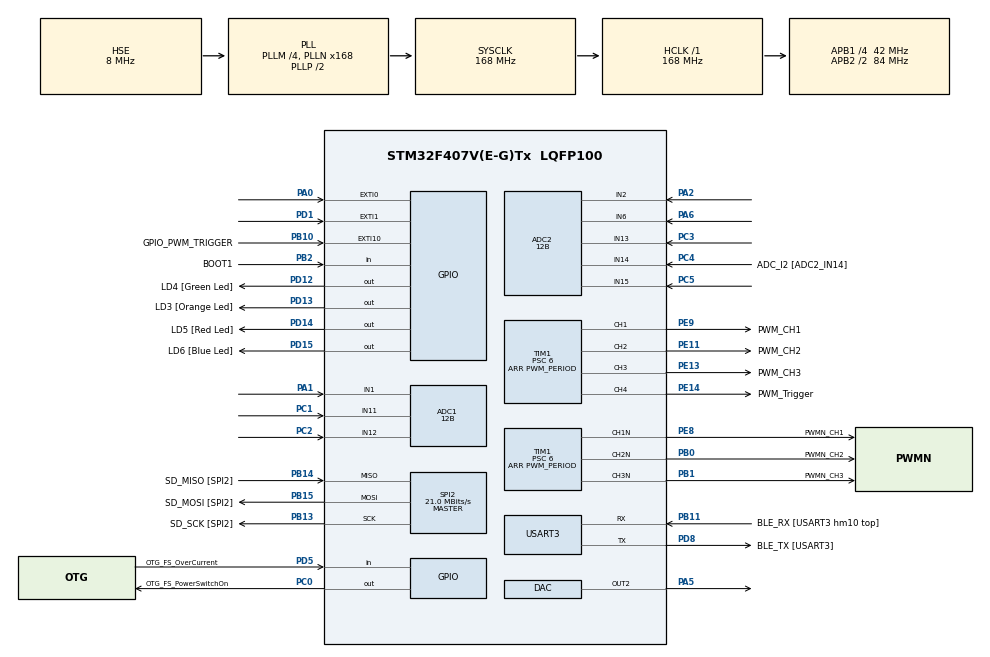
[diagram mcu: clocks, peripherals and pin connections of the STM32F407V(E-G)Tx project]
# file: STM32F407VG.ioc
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ADC1.Channel-103\#ChannelInjectedConversion=ADC_CHANNEL_1
ADC1.Channel-104\#ChannelInjectedConversion=ADC_CHANNEL_11
ADC1.Channel-105\#ChannelInjectedConversion=ADC_CHANNEL_12
ADC1.Channel-96\#ChannelRegularConversion=ADC_CHANNEL_1
ADC1.Channel-97\#ChannelInjectedConversion=ADC_CHANNEL_1
ADC1.Channel-98\#ChannelInjectedConversion=ADC_CHANNEL_11
ADC1.ClockPrescaler=ADC_CLOCK_SYNC_PCLK_DIV4
ADC1.ContinuousConvMode=DISABLE
ADC1.DMAContinuousRequests=DISABLE
ADC1.DataAlign=ADC_DATAALIGN_RIGHT
ADC1.DiscontinuousConvMode=DISABLE
ADC1.EOCSelection=ADC_EOC_SINGLE_CONV
ADC1.EnableAnalogWatchDog=false
ADC1.ExternalTrigConv=ADC_SOFTWARE_START
ADC1.ExternalTrigConvEdge=ADC_EXTERNALTRIGCONVEDGE_NONE
ADC1.ExternalTrigInjecConv=ADC_INJECTED_SOFTWARE_START
ADC1.ExternalTrigInjecConvEdge=ADC_EXTERNALTRIGINJECCONVEDGE_NONE
ADC1.InjNumberOfConversion=3
ADC1.InjectedConvMode=None
ADC1.InjectedOffset-103\#ChannelInjectedConversion=0
ADC1.InjectedOffset-104\#ChannelInjectedConversion=0
ADC1.InjectedOffset-105\#ChannelInjectedConversion=0
ADC1.InjectedOffset-97\#ChannelInjectedConversion=0
ADC1.InjectedOffset-98\#ChannelInjectedConversion=0
ADC1.NbrOfConversion=1
ADC1.NbrOfConversionFlag=1
ADC1.Rank-103\#ChannelInjectedConversion=1
ADC1.Rank-104\#ChannelInjectedConversion=2
ADC1.Rank-105\#ChannelInjectedConversion=3
ADC1.Rank-96\#ChannelRegularConversion=1
ADC1.Rank-97\#ChannelInjectedConversion=1
ADC1.Rank-98\#ChannelInjectedConversion=2
ADC1.Resolution=ADC_RESOLUTION_12B
ADC1.SamplingTime-103\#ChannelInjectedConversion=ADC_SAMPLETIME_3CYCLES
ADC1.SamplingTime-104\#ChannelInjectedConversion=ADC_SAMPLETIME_3CYCLES
ADC1.SamplingTime-105\#ChannelInjectedConversion=ADC_SAMPLETIME_3CYCLES
ADC1.SamplingTime-96\#ChannelRegularConversion=ADC_SAMPLETIME_3CYCLES
ADC1.SamplingTime-97\#ChannelInjectedConversion=ADC_SAMPLETIME_3CYCLES
ADC1.SamplingTime-98\#ChannelInjectedConversion=ADC_SAMPLETIME_3CYCLES
ADC1.ScanConvMode=ENABLE
ADC1.master=1
ADC2.Channel-42\#ChannelRegularConversion=ADC_CHANNEL_6
ADC2.Channel-43\#ChannelInjectedConversion=ADC_CHANNEL_2
ADC2.Channel-44\#ChannelInjectedConversion=ADC_CHANNEL_14
ADC2.Channel-45\#ChannelInjectedConversion=ADC_CHANNEL_15
ADC2.ClockPrescaler=ADC_CLOCK_SYNC_PCLK_DIV4
ADC2.ContinuousConvMode=DISABLE
ADC2.DMAContinuousRequests=DISABLE
ADC2.DataAlign=ADC_DATAALIGN_RIGHT
ADC2.DiscontinuousConvMode=DISABLE
ADC2.EOCSelection=ADC_EOC_SINGLE_CONV
ADC2.EnableAnalogWatchDog=false
ADC2.ExternalTrigConv=ADC_SOFTWARE_START
ADC2.ExternalTrigConvEdge=ADC_EXTERNALTRIGCONVEDGE_NONE
ADC2.ExternalTrigInjecConv=ADC_INJECTED_SOFTWARE_START
ADC2.ExternalTrigInjecConvEdge=ADC_EXTERNALTRIGINJECCONVEDGE_NONE
ADC2.InjNumberOfConversion=3
ADC2.InjectedConvMode=None
ADC2.InjectedOffset-43\#ChannelInjectedConversion=0
ADC2.InjectedOffset-44\#ChannelInjectedConversion=0
ADC2.InjectedOffset-45\#ChannelInjectedConversion=0
ADC2.NbrOfConversion=1
ADC2.NbrOfConversionFlag=1
ADC2.Rank-42\#ChannelRegularConversion=1
ADC2.Rank-43\#ChannelInjectedConversion=1
ADC2.Rank-44\#ChannelInjectedConversion=2
ADC2.Rank-45\#ChannelInjectedConversion=3
ADC2.Resolution=ADC_RESOLUTION_12B
ADC2.SamplingTime-42\#ChannelRegularConversion=ADC_SAMPLETIME_3CYCLES
ADC2.SamplingTime-43\#ChannelInjectedConversion=ADC_SAMPLETIME_3CYCLES
ADC2.SamplingTime-44\#ChannelInjectedConversion=ADC_SAMPLETIME_3CYCLES
ADC2.SamplingTime-45\#ChannelInjectedConversion=ADC_SAMPLETIME_3CYCLES
ADC2.ScanConvMode=ENABLE
Dma.Request0=SPI2_RX
Dma.Request1=SPI2_TX
Dma.SPI2_RX.0.Direction=DMA_PERIPH_TO_MEMORY
Dma.SPI2_RX.0.FIFOMode=DMA_FIFOMODE_DISABLE
Dma.SPI2_RX.0.Instance=DMA1_Stream3
Dma.SPI2_RX.0.MemDataAlignment=DMA_MDATAALIGN_BYTE
Dma.SPI2_RX.0.MemInc=DMA_MINC_ENABLE
Dma.SPI2_RX.0.Mode=DMA_NORMAL
Dma.SPI2_RX.0.PeriphDataAlignment=DMA_PDATAALIGN_BYTE
Dma.SPI2_RX.0.PeriphInc=DMA_PINC_DISABLE
Dma.SPI2_RX.0.Priority=DMA_PRIORITY_HIGH
Dma.SPI2_TX.1.Direction=DMA_MEMORY_TO_PERIPH
Dma.SPI2_TX.1.FIFOMode=DMA_FIFOMODE_DISABLE
Dma.SPI2_TX.1.Instance=DMA1_Stream4
Dma.SPI2_TX.1.MemDataAlignment=DMA_MDATAALIGN_BYTE
Dma.SPI2_TX.1.MemInc=DMA_MINC_ENABLE
Dma.SPI2_TX.1.Mode=DMA_NORMAL
Dma.SPI2_TX.1.PeriphDataAlignment=DMA_PDATAALIGN_BYTE
Dma.SPI2_TX.1.PeriphInc=DMA_PINC_DISABLE
Dma.SPI2_TX.1.Priority=DMA_PRIORITY_HIGH
FREERTOS.Tasks01=defaultTask,-3,128,StartDefaultTask,Default,NULL,Dynamic,NULL,NULL
Mcu.Family=STM32F4
Mcu.Name=STM32F407V(E-G)Tx
Mcu.Package=LQFP100
Mcu.UserConstants=PWM_PERIOD,1000;PWM_PULSE,200;TIM10_SPEED_CALC_DIV,480
NVIC.ADC_IRQn=true\:8\:0\:true\:false\:true\:true\:true
NVIC.DMA1_Stream3_IRQn=true\:9\:0\:true\:false\:true\:true\:false
NVIC.DMA1_Stream4_IRQn=true\:9\:0\:true\:false\:true\:true\:false
NVIC.EXTI0_IRQn=true\:8\:0\:true\:false\:true\:true\:true
NVIC.EXTI15_10_IRQn=true\:8\:0\:true\:false\:true\:true\:true
NVIC.EXTI1_IRQn=true\:8\:0\:true\:false\:true\:true\:true
NVIC.FLASH_IRQn=true\:8\:0\:true\:false\:true\:true\:true
NVIC.FPU_IRQn=true\:8\:0\:true\:false\:true\:true\:true
NVIC.PVD_IRQn=true\:8\:0\:true\:false\:true\:true\:true
NVIC.PriorityGroup=NVIC_PRIORITYGROUP_4
NVIC.RCC_IRQn=true\:8\:0\:true\:false\:true\:true\:true
NVIC.RTC_Alarm_IRQn=true\:10\:0\:true\:false\:true\:true\:true
NVIC.SPI2_IRQn=true\:9\:0\:true\:false\:true\:true\:true
NVIC.TIM1_BRK_TIM9_IRQn=true\:8\:0\:true\:false\:true\:true\:true
NVIC.TIM1_CC_IRQn=true\:8\:0\:true\:false\:true\:true\:true
NVIC.TIM1_TRG_COM_TIM11_IRQn=true\:8\:0\:true\:false\:true\:true\:true
NVIC.TIM1_UP_TIM10_IRQn=true\:8\:0\:true\:false\:true\:true\:true
NVIC.TIM6_DAC_IRQn=true\:8\:0\:true\:false\:true\:true\:true
NVIC.TIM8_TRG_COM_TIM14_IRQn=true\:0\:0\:false\:false\:true\:false\:false
NVIC.TimeBase=TIM8_TRG_COM_TIM14_IRQn
NVIC.TimeBaseIP=TIM14
NVIC.USART3_IRQn=true\:7\:0\:true\:false\:true\:true\:true
PA0-WKUP.Signal=GPXTI0
PA1.Signal=ADCx_IN1
PA11.GPIO_Label=OTG_FS_DM
PA11.GPIO_Mode=GPIO_MODE_AF_PP
PA11.GPIO_PuPd=GPIO_NOPULL
PA11.GPIO_Speed=GPIO_SPEED_FREQ_LOW
PA11.Signal=USB_OTG_FS_DM
PA12.GPIO_Label=OTG_FS_DP
PA12.GPIO_Mode=GPIO_MODE_AF_PP
PA12.GPIO_PuPd=GPIO_NOPULL
PA12.GPIO_Speed=GPIO_SPEED_FREQ_LOW
PA12.Signal=USB_OTG_FS_DP
PA13.GPIO_Label=SWDIO
PA13.Mode=Serial_Wire
PA13.Signal=SYS_JTMS-SWDIO
PA14.GPIO_Label=SWCLK
PA14.Mode=Serial_Wire
PA14.Signal=SYS_JTCK-SWCLK
PA2.Signal=ADCx_IN2
PA5.Signal=COMP_DAC2_group
PA6.Signal=ADCx_IN6
PB0.GPIO_Label=PWMN_CH2
PB0.Mode=PWM Generation2 CH2 CH2N
PB0.Signal=TIM1_CH2N
PB1.GPIO_Label=PWMN_CH3
PB1.Mode=PWM Generation3 CH3 CH3N
PB1.Signal=TIM1_CH3N
PB10.GPIO_Label=GPIO_PWM_TRIGGER
PB10.GPIO_ModeDefaultEXTI=GPIO_MODE_IT_RISING_FALLING
PB10.Signal=GPXTI10
PB11.GPIO_Label=BLE_RX [USART3 hm10 top]
PB11.Mode=Asynchronous
PB11.Signal=USART3_RX
PB13.GPIO_Label=SD_SCK [SPI2]
PB13.GPIO_PuPd=GPIO_NOPULL
PB13.Mode=Full_Duplex_Master
PB13.Signal=SPI2_SCK
PB14.GPIO_Label=SD_MISO [SPI2]
PB14.GPIO_PuPd=GPIO_NOPULL
PB14.Mode=Full_Duplex_Master
PB14.Signal=SPI2_MISO
PB15.GPIO_Label=SD_MOSI [SPI2]
PB15.GPIO_Mode=GPIO_MODE_AF_PP
PB15.GPIO_PuPd=GPIO_NOPULL
PB15.Mode=Full_Duplex_Master
PB15.Signal=SPI2_MOSI
PB2.GPIO_Label=BOOT1
PB2.GPIO_Mode=GPIO_MODE_INPUT
PB2.GPIO_PuPd=GPIO_NOPULL
PB2.Signal=GPIO_Input
PB3.Signal=SYS_JTDO-SWO
PC0.GPIO_Label=OTG_FS_PowerSwitchOn
PC0.GPIO_PuPd=GPIO_NOPULL
PC0.GPIO_Speed=GPIO_SPEED_FREQ_LOW
PC0.PinState=GPIO_PIN_SET
PC0.Signal=GPIO_Output
PC1.Signal=ADCx_IN11
PC14-OSC32_IN.GPIO_Label=PC14-OSC32_IN
PC14-OSC32_IN.Mode=LSE-External-Oscillator
PC14-OSC32_IN.Signal=RCC_OSC32_IN
PC15-OSC32_OUT.GPIO_Label=PC15-OSC32_OUT
PC15-OSC32_OUT.Mode=LSE-External-Oscillator
PC15-OSC32_OUT.Signal=RCC_OSC32_OUT
PC2.Signal=ADCx_IN12
PC3.Signal=ADCx_IN13
PC4.GPIO_Label=ADC_I2 [ADC2_IN14]
PC4.Signal=ADCx_IN14
PC5.Signal=ADCx_IN15
PD1.GPIO_ModeDefaultEXTI=GPIO_MODE_IT_RISING_FALLING
PD1.Signal=GPXTI1
PD12.GPIO_Label=LD4 [Green Led]
PD12.GPIO_PuPd=GPIO_NOPULL
PD12.GPIO_Speed=GPIO_SPEED_FREQ_LOW
PD12.Signal=GPIO_Output
PD13.GPIO_Label=LD3 [Orange Led]
PD13.GPIO_PuPd=GPIO_NOPULL
PD13.GPIO_Speed=GPIO_SPEED_FREQ_LOW
PD13.Signal=GPIO_Output
PD14.GPIO_Label=LD5 [Red Led]
PD14.GPIO_PuPd=GPIO_NOPULL
PD14.GPIO_Speed=GPIO_SPEED_FREQ_LOW
PD14.Signal=GPIO_Output
PD15.GPIO_Label=LD6 [Blue Led]
PD15.GPIO_PuPd=GPIO_NOPULL
PD15.GPIO_Speed=GPIO_SPEED_FREQ_LOW
PD15.Signal=GPIO_Output
PD5.GPIO_Label=OTG_FS_OverCurrent
PD5.GPIO_Mode=GPIO_MODE_INPUT
PD5.GPIO_PuPd=GPIO_NOPULL
PD5.Signal=GPIO_Input
PD8.GPIO_Label=BLE_TX [USART3]
PD8.Mode=Asynchronous
PD8.Signal=USART3_TX
PE11.GPIO_Label=PWM_CH2
PE11.GPIO_Speed=GPIO_SPEED_FREQ_MEDIUM
PE11.Signal=S_TIM1_CH2
PE13.GPIO_Label=PWM_CH3
PE13.GPIO_Speed=GPIO_SPEED_FREQ_MEDIUM
PE13.Signal=S_TIM1_CH3
PE14.GPIO_Label=PWM_Trigger
PE14.GPIO_Speed=GPIO_SPEED_FREQ_MEDIUM
PE14.Signal=S_TIM1_CH4
PE8.GPIO_Label=PWMN_CH1
PE8.Mode=PWM Generation1 CH1 CH1N
PE8.Signal=TIM1_CH1N
PE9.GPIO_Label=PWM_CH1
PE9.GPIO_Speed=GPIO_SPEED_FREQ_MEDIUM
PE9.Signal=S_TIM1_CH1
PH0-OSC_IN.GPIO_Label=PH0-OSC_IN
PH0-OSC_IN.Mode=HSE-External-Oscillator
PH0-OSC_IN.Signal=RCC_OSC_IN
PH1-OSC_OUT.GPIO_Label=PH1-OSC_OUT
PH1-OSC_OUT.Mode=HSE-External-Oscillator
PH1-OSC_OUT.Signal=RCC_OSC_OUT
ProjectManager.HeapSize=0x200
ProjectManager.StackSize=0x400
ProjectManager.TargetToolchain=TrueSTUDIO
RCC.48MHZClocksFreq_Value=48000000
RCC.AHBFreq_Value=168000000
RCC.APB1CLKDivider=RCC_HCLK_DIV4
RCC.APB1Freq_Value=42000000
RCC.APB1TimFreq_Value=84000000
RCC.APB2CLKDivider=RCC_HCLK_DIV2
RCC.APB2Freq_Value=84000000
RCC.APB2TimFreq_Value=168000000
RCC.CortexFreq_Value=168000000
RCC.HCLKFreq_Value=168000000
RCC.HSE_VALUE=8000000
RCC.HSI_VALUE=16000000
RCC.PLLM=4
RCC.PLLN=168
RCC.PLLQ=7
RCC.PLLSourceVirtual=RCC_PLLSOURCE_HSE
RCC.SYSCLKFreq_VALUE=168000000
RCC.SYSCLKSource=RCC_SYSCLKSOURCE_PLLCLK
RCC.VCOOutputFreq_Value=336000000
RTC.Alarm=RTC_ALARM_A
RTC.AlarmSubSecondMask=RTC_ALARMSUBSECONDMASK_NONE
RTC.Format=RTC_FORMAT_BIN
SH.ADCx_IN1.0=ADC1_IN1,IN1
SH.ADCx_IN11.0=ADC1_IN11,IN11
SH.ADCx_IN12.0=ADC1_IN12,IN12
SH.ADCx_IN13.0=ADC2_IN13,IN13
SH.ADCx_IN14.0=ADC2_IN14,IN14
SH.ADCx_IN15.0=ADC1_IN15
SH.ADCx_IN15.1=ADC2_IN15,IN15
SH.ADCx_IN2.0=ADC2_IN2,IN2
SH.ADCx_IN6.0=ADC2_IN6,IN6
SH.COMP_DAC2_group.0=DAC_OUT2,DAC_OUT2
SH.S_TIM1_CH1.0=TIM1_CH1,PWM Generation1 CH1 CH1N
SH.S_TIM1_CH2.0=TIM1_CH2,PWM Generation2 CH2 CH2N
SH.S_TIM1_CH3.0=TIM1_CH3,PWM Generation3 CH3 CH3N
SH.S_TIM1_CH4.0=TIM1_CH4,PWM Generation4 CH4
SPI2.BaudRatePrescaler=SPI_BAUDRATEPRESCALER_2
SPI2.CalculateBaudRate=21.0 MBits/s
SPI2.Direction=SPI_DIRECTION_2LINES
SPI2.Mode=SPI_MODE_MASTER
SPI2.VirtualType=VM_MASTER
TIM1.Channel-PWM\ Generation1\ CH1\ CH1N=TIM_CHANNEL_1
TIM1.Channel-PWM\ Generation2\ CH2\ CH2N=TIM_CHANNEL_2
TIM1.Channel-PWM\ Generation3\ CH3\ CH3N=TIM_CHANNEL_3
TIM1.Channel-PWM\ Generation4\ CH4=TIM_CHANNEL_4
TIM1.DeadTime=20
TIM1.Period=PWM_PERIOD
TIM1.Prescaler=6
TIM1.Pulse-PWM\ Generation1\ CH1\ CH1N=PWM_PULSE
TIM1.Pulse-PWM\ Generation2\ CH2\ CH2N=PWM_PULSE
TIM1.Pulse-PWM\ Generation3\ CH3\ CH3N=PWM_PULSE
TIM1.Pulse-PWM\ Generation4\ CH4=500
TIM1.TIM_MasterOutputTrigger=TIM_TRGO_UPDATE
TIM1.TIM_MasterSlaveMode=TIM_MASTERSLAVEMODE_ENABLE
TIM10.Channel=TIM_CHANNEL_1
TIM10.Period=65535
TIM10.Prescaler=168
TIM10.Pulse=65535
TIM9.Channel-Output\ Compare1\ No\ Output=TIM_CHANNEL_1
TIM9.OCMode_1=TIM_OCMODE_TIMING
TIM9.Period=30
TIM9.Prescaler=6
TIM9.Pulse-Output\ Compare1\ No\ Output=15
USART3.VirtualMode=VM_ASYNC
VP_FATFS_VS_Generic.Mode=User_defined
VP_FREERTOS_VS_ENABLE.Mode=Enabled
VP_RTC_VS_RTC_Activate.Mode=RTC_Enabled
VP_RTC_VS_RTC_Alarm_A_Intern.Mode=Alarm A
VP_RTC_VS_RTC_Calendar.Mode=RTC_Calendar
VP_SYS_VS_tim14.Mode=TIM14
VP_TIM10_VS_ClockSourceINT.Mode=Enable_Timer
VP_TIM10_VS_no_output1.Mode=Output Compare1 No Output
VP_TIM9_VS_no_output1.Mode=Output Compare1 No Output
board=STM32F4DISCOVERY

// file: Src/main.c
/**
  ******************************************************************************
  * @file           : main.c
  * @brief          : Main program body
  ******************************************************************************
  * This notice applies to any and all portions of this file
  * that are not between comment pairs USER CODE BEGIN and
  * USER CODE END. Other portions of this file, whether
  * inserted by the user or by software development tools
  * are owned by their respective copyright owners.
  *
  * Copyright (c) 2018 STMicroelectronics International N.V.
  * All rights reserved.
  *
  * Redistribution and use in source and binary forms, with or without
  * modification, are permitted, provided that the following conditions are met:
  *
  * 1. Redistribution of source code must retain the above copyright notice,
  *    this list of conditions and the following disclaimer.
  * 2. Redistributions in binary form must reproduce the above copyright notice,
  *    this list of conditions and the following disclaimer in the documentation
  *    and/or other materials provided with the distribution.
  * 3. Neither the name of STMicroelectronics nor the names of other
  *    contributors to this software may be used to endorse or promote products
  *    derived from this software without specific written permission.
  * 4. This software, including modifications and/or derivative works of this
  *    software, must execute solely and exclusively on microcontroller or
  *    microprocessor devices manufactured by or for STMicroelectronics.
  * 5. Redistribution and use of this software other than as permitted under
  *    this license is void and will automatically terminate your rights under
  *    this license.
  *
  * THIS SOFTWARE IS PROVIDED BY STMICROELECTRONICS AND CONTRIBUTORS "AS IS"
  * AND ANY EXPRESS, IMPLIED OR STATUTORY WARRANTIES, INCLUDING, BUT NOT
  * LIMITED TO, THE IMPLIED WARRANTIES OF MERCHANTABILITY, FITNESS FOR A
  * PARTICULAR PURPOSE AND NON-INFRINGEMENT OF THIRD PARTY INTELLECTUAL PROPERTY
  * RIGHTS ARE DISCLAIMED TO THE FULLEST EXTENT PERMITTED BY LAW. IN NO EVENT
  * SHALL STMICROELECTRONICS OR CONTRIBUTORS BE LIABLE FOR ANY DIRECT, INDIRECT,
  * INCIDENTAL, SPECIAL, EXEMPLARY, OR CONSEQUENTIAL DAMAGES (INCLUDING, BUT NOT
  * LIMITED TO, PROCUREMENT OF SUBSTITUTE GOODS OR SERVICES; LOSS OF USE, DATA,
  * OR PROFITS; OR BUSINESS INTERRUPTION) HOWEVER CAUSED AND ON ANY THEORY OF
  * LIABILITY, WHETHER IN CONTRACT, STRICT LIABILITY, OR TORT (INCLUDING
  * NEGLIGENCE OR OTHERWISE) ARISING IN ANY WAY OUT OF THE USE OF THIS SOFTWARE,
  * EVEN IF ADVISED OF THE POSSIBILITY OF SUCH DAMAGE.
  *
  ******************************************************************************
  */
#include "main.h"
#include "stm32f4xx_hal.h"
#include "cmsis_os.h"
#include "fatfs.h"

/* USER CODE BEGIN Includes */
#include "MC.h"
#define vPortSVCHandler SVC_Handler

#define xPortPendSVHandler PendSV_Handler

#define xPortSysTickHandler SysTick_Handler
/* USER CODE END Includes */

ADC_HandleTypeDef hadc1;
ADC_HandleTypeDef hadc2;

DAC_HandleTypeDef hdac;

RTC_HandleTypeDef hrtc;

SPI_HandleTypeDef hspi2;
DMA_HandleTypeDef hdma_spi2_rx;
DMA_HandleTypeDef hdma_spi2_tx;

TIM_HandleTypeDef htim1;
TIM_HandleTypeDef htim9;
TIM_HandleTypeDef htim10;

UART_HandleTypeDef huart3;

osThreadId defaultTaskHandle;

/* USER CODE BEGIN PV */
/* Private variables ---------------------------------------------------------*/

/* USER CODE END PV */

void SystemClock_Config(void);
static void MX_GPIO_Init(void);
static void MX_DMA_Init(void);
static void MX_TIM1_Init(void);
static void MX_RTC_Init(void);
static void MX_SPI2_Init(void);
static void MX_USART3_UART_Init(void);
static void MX_ADC2_Init(void);
static void MX_ADC1_Init(void);
static void MX_TIM9_Init(void);
static void MX_TIM10_Init(void);
static void MX_DAC_Init(void);
void StartDefaultTask(void const * argument);

void HAL_TIM_MspPostInit(TIM_HandleTypeDef *htim);

/* USER CODE BEGIN PFP */
/* Private function prototypes -----------------------------------------------*/
void Error_Handler_ISR() {
	Error_Handler();
}
extern void Start_MotorControlThread(void);
extern void Start_BT_Task(void);
extern void TurnAllPWMsOFF(void);
extern void Start_SDCard_Task(void);
extern void CruiseControl_Start(void);
/* USER CODE END PFP */

int main(void)
{

  /* MCU Configuration----------------------------------------------------------*/

  /* Reset of all peripherals, Initializes the Flash interface and the Systick. */
  HAL_Init();

  /* Configure the system clock */
  SystemClock_Config();

  /* Initialize all configured peripherals */
  MX_GPIO_Init();
  MX_DMA_Init();
  MX_TIM1_Init();
  MX_RTC_Init();
  MX_SPI2_Init();
  MX_USART3_UART_Init();
  MX_ADC2_Init();
  MX_ADC1_Init();
  MX_TIM9_Init();
  MX_TIM10_Init();
  MX_DAC_Init();
  /* USER CODE BEGIN 2 */
	MX_FATFS_Init();

  /* USER CODE END 2 */

  /* Create the thread(s) */
  /* definition and creation of defaultTask */
  osThreadDef(defaultTask, StartDefaultTask, osPriorityIdle, 0, 128);
  defaultTaskHandle = osThreadCreate(osThread(defaultTask), NULL);

  /* USER CODE BEGIN RTOS_THREADS */
	/* add threads, ... */
	Start_BT_Task();
	Start_MotorControlThread();
	CruiseControl_Start();

	Start_SDCard_Task();
  /* USER CODE END RTOS_THREADS */

  /* USER CODE BEGIN RTOS_QUEUES */
	/* add queues, ... */

	//	NVIC_SetPriorityGrouping( 0 );
  /* USER CODE END RTOS_QUEUES */

  /* Start scheduler */
  osKernelStart();

  /* We should never get here as control is now taken by the scheduler */

  /* Infinite loop */
	while (1) {

	}

}

void SystemClock_Config(void)
{

  RCC_OscInitTypeDef RCC_OscInitStruct;
  RCC_ClkInitTypeDef RCC_ClkInitStruct;
  RCC_PeriphCLKInitTypeDef PeriphClkInitStruct;

    /**Configure the main internal regulator output voltage
    */
  __HAL_RCC_PWR_CLK_ENABLE();

  __HAL_PWR_VOLTAGESCALING_CONFIG(PWR_REGULATOR_VOLTAGE_SCALE1);

    /**Initializes the CPU, AHB and APB busses clocks
    */
  RCC_OscInitStruct.OscillatorType = RCC_OSCILLATORTYPE_LSI|RCC_OSCILLATORTYPE_HSE;
  RCC_OscInitStruct.HSEState = RCC_HSE_ON;
  RCC_OscInitStruct.LSIState = RCC_LSI_ON;
  RCC_OscInitStruct.PLL.PLLState = RCC_PLL_ON;
  RCC_OscInitStruct.PLL.PLLSource = RCC_PLLSOURCE_HSE;
  RCC_OscInitStruct.PLL.PLLM = 4;
  RCC_OscInitStruct.PLL.PLLN = 168;
  RCC_OscInitStruct.PLL.PLLP = RCC_PLLP_DIV2;
  RCC_OscInitStruct.PLL.PLLQ = 7;
  if (HAL_RCC_OscConfig(&RCC_OscInitStruct) != HAL_OK)
  {
    _Error_Handler(__FILE__, __LINE__);
  }

    /**Initializes the CPU, AHB and APB busses clocks
    */
  RCC_ClkInitStruct.ClockType = RCC_CLOCKTYPE_HCLK|RCC_CLOCKTYPE_SYSCLK
                              |RCC_CLOCKTYPE_PCLK1|RCC_CLOCKTYPE_PCLK2;
  RCC_ClkInitStruct.SYSCLKSource = RCC_SYSCLKSOURCE_PLLCLK;
  RCC_ClkInitStruct.AHBCLKDivider = RCC_SYSCLK_DIV1;
  RCC_ClkInitStruct.APB1CLKDivider = RCC_HCLK_DIV4;
  RCC_ClkInitStruct.APB2CLKDivider = RCC_HCLK_DIV2;

  if (HAL_RCC_ClockConfig(&RCC_ClkInitStruct, FLASH_LATENCY_5) != HAL_OK)
  {
    _Error_Handler(__FILE__, __LINE__);
  }

  PeriphClkInitStruct.PeriphClockSelection = RCC_PERIPHCLK_RTC;
  PeriphClkInitStruct.RTCClockSelection = RCC_RTCCLKSOURCE_LSI;
  if (HAL_RCCEx_PeriphCLKConfig(&PeriphClkInitStruct) != HAL_OK)
  {
    _Error_Handler(__FILE__, __LINE__);
  }

    /**Configure the Systick interrupt time
    */
  HAL_SYSTICK_Config(HAL_RCC_GetHCLKFreq()/1000);

    /**Configure the Systick
    */
  HAL_SYSTICK_CLKSourceConfig(SYSTICK_CLKSOURCE_HCLK);

  /* SysTick_IRQn interrupt configuration */
  HAL_NVIC_SetPriority(SysTick_IRQn, 15, 0);
}

/* ADC1 init function */
static void MX_ADC1_Init(void)
{

  ADC_ChannelConfTypeDef sConfig;
  ADC_InjectionConfTypeDef sConfigInjected;

    /**Configure the global features of the ADC (Clock, Resolution, Data Alignment and number of conversion)
    */
  hadc1.Instance = ADC1;
  hadc1.Init.ClockPrescaler = ADC_CLOCK_SYNC_PCLK_DIV4;
  hadc1.Init.Resolution = ADC_RESOLUTION_12B;
  hadc1.Init.ScanConvMode = ENABLE;
  hadc1.Init.ContinuousConvMode = DISABLE;
  hadc1.Init.DiscontinuousConvMode = DISABLE;
  hadc1.Init.ExternalTrigConvEdge = ADC_EXTERNALTRIGCONVEDGE_NONE;
  hadc1.Init.ExternalTrigConv = ADC_SOFTWARE_START;
  hadc1.Init.DataAlign = ADC_DATAALIGN_RIGHT;
  hadc1.Init.NbrOfConversion = 1;
  hadc1.Init.DMAContinuousRequests = DISABLE;
  hadc1.Init.EOCSelection = ADC_EOC_SINGLE_CONV;
  if (HAL_ADC_Init(&hadc1) != HAL_OK)
  {
    _Error_Handler(__FILE__, __LINE__);
  }

    /**Configure for the selected ADC regular channel its corresponding rank in the sequencer and its sample time.
    */
  sConfig.Channel = ADC_CHANNEL_1;
  sConfig.Rank = 1;
  sConfig.SamplingTime = ADC_SAMPLETIME_3CYCLES;
  if (HAL_ADC_ConfigChannel(&hadc1, &sConfig) != HAL_OK)
  {
    _Error_Handler(__FILE__, __LINE__);
  }

    /**Configures for the selected ADC injected channel its corresponding rank in the sequencer and its sample time
    */
  sConfigInjected.InjectedChannel = ADC_CHANNEL_1;
  sConfigInjected.InjectedRank = 1;
  sConfigInjected.InjectedNbrOfConversion = 3;
  sConfigInjected.InjectedSamplingTime = ADC_SAMPLETIME_3CYCLES;
  sConfigInjected.ExternalTrigInjecConvEdge = ADC_EXTERNALTRIGINJECCONVEDGE_NONE;
  sConfigInjected.ExternalTrigInjecConv = ADC_INJECTED_SOFTWARE_START;
  sConfigInjected.AutoInjectedConv = DISABLE;
  sConfigInjected.InjectedDiscontinuousConvMode = DISABLE;
  sConfigInjected.InjectedOffset = 0;
  if (HAL_ADCEx_InjectedConfigChannel(&hadc1, &sConfigInjected) != HAL_OK)
  {
    _Error_Handler(__FILE__, __LINE__);
  }

    /**Configures for the selected ADC injected channel its corresponding rank in the sequencer and its sample time
    */
  sConfigInjected.InjectedChannel = ADC_CHANNEL_11;
  sConfigInjected.InjectedRank = 2;
  if (HAL_ADCEx_InjectedConfigChannel(&hadc1, &sConfigInjected) != HAL_OK)
  {
    _Error_Handler(__FILE__, __LINE__);
  }

    /**Configures for the selected ADC injected channel its corresponding rank in the sequencer and its sample time
    */
  sConfigInjected.InjectedChannel = ADC_CHANNEL_12;
  sConfigInjected.InjectedRank = 3;
  if (HAL_ADCEx_InjectedConfigChannel(&hadc1, &sConfigInjected) != HAL_OK)
  {
    _Error_Handler(__FILE__, __LINE__);
  }

}

/* ADC2 init function */
static void MX_ADC2_Init(void)
{

  ADC_ChannelConfTypeDef sConfig;
  ADC_InjectionConfTypeDef sConfigInjected;

    /**Configure the global features of the ADC (Clock, Resolution, Data Alignment and number of conversion)
    */
  hadc2.Instance = ADC2;
  hadc2.Init.ClockPrescaler = ADC_CLOCK_SYNC_PCLK_DIV4;
  hadc2.Init.Resolution = ADC_RESOLUTION_12B;
  hadc2.Init.ScanConvMode = ENABLE;
  hadc2.Init.ContinuousConvMode = DISABLE;
  hadc2.Init.DiscontinuousConvMode = DISABLE;
  hadc2.Init.ExternalTrigConvEdge = ADC_EXTERNALTRIGCONVEDGE_NONE;
  hadc2.Init.ExternalTrigConv = ADC_SOFTWARE_START;
  hadc2.Init.DataAlign = ADC_DATAALIGN_RIGHT;
  hadc2.Init.NbrOfConversion = 1;
  hadc2.Init.DMAContinuousRequests = DISABLE;
  hadc2.Init.EOCSelection = ADC_EOC_SINGLE_CONV;
  if (HAL_ADC_Init(&hadc2) != HAL_OK)
  {
    _Error_Handler(__FILE__, __LINE__);
  }

    /**Configure for the selected ADC regular channel its corresponding rank in the sequencer and its sample time.
    */
  sConfig.Channel = ADC_CHANNEL_6;
  sConfig.Rank = 1;
  sConfig.SamplingTime = ADC_SAMPLETIME_3CYCLES;
  if (HAL_ADC_ConfigChannel(&hadc2, &sConfig) != HAL_OK)
  {
    _Error_Handler(__FILE__, __LINE__);
  }

    /**Configures for the selected ADC injected channel its corresponding rank in the sequencer and its sample time
    */
  sConfigInjected.InjectedChannel = ADC_CHANNEL_2;
  sConfigInjected.InjectedRank = 1;
  sConfigInjected.InjectedNbrOfConversion = 3;
  sConfigInjected.InjectedSamplingTime = ADC_SAMPLETIME_3CYCLES;
  sConfigInjected.ExternalTrigInjecConvEdge = ADC_EXTERNALTRIGINJECCONVEDGE_NONE;
  sConfigInjected.ExternalTrigInjecConv = ADC_INJECTED_SOFTWARE_START;
  sConfigInjected.AutoInjectedConv = DISABLE;
  sConfigInjected.InjectedDiscontinuousConvMode = DISABLE;
  sConfigInjected.InjectedOffset = 0;
  if (HAL_ADCEx_InjectedConfigChannel(&hadc2, &sConfigInjected) != HAL_OK)
  {
    _Error_Handler(__FILE__, __LINE__);
  }

    /**Configures for the selected ADC injected channel its corresponding rank in the sequencer and its sample time
    */
  sConfigInjected.InjectedChannel = ADC_CHANNEL_14;
  sConfigInjected.InjectedRank = 2;
  if (HAL_ADCEx_InjectedConfigChannel(&hadc2, &sConfigInjected) != HAL_OK)
  {
    _Error_Handler(__FILE__, __LINE__);
  }

    /**Configures for the selected ADC injected channel its corresponding rank in the sequencer and its sample time
    */
  sConfigInjected.InjectedChannel = ADC_CHANNEL_15;
  sConfigInjected.InjectedRank = 3;
  if (HAL_ADCEx_InjectedConfigChannel(&hadc2, &sConfigInjected) != HAL_OK)
  {
    _Error_Handler(__FILE__, __LINE__);
  }

}

/* DAC init function */
static void MX_DAC_Init(void)
{

  DAC_ChannelConfTypeDef sConfig;

    /**DAC Initialization
    */
  hdac.Instance = DAC;
  if (HAL_DAC_Init(&hdac) != HAL_OK)
  {
    _Error_Handler(__FILE__, __LINE__);
  }

    /**DAC channel OUT2 config
    */
  sConfig.DAC_Trigger = DAC_TRIGGER_NONE;
  sConfig.DAC_OutputBuffer = DAC_OUTPUTBUFFER_ENABLE;
  if (HAL_DAC_ConfigChannel(&hdac, &sConfig, DAC_CHANNEL_2) != HAL_OK)
  {
    _Error_Handler(__FILE__, __LINE__);
  }

}

/* RTC init function */
static void MX_RTC_Init(void)
{

  RTC_TimeTypeDef sTime;
  RTC_DateTypeDef sDate;
  RTC_AlarmTypeDef sAlarm;

    /**Initialize RTC Only
    */
  hrtc.Instance = RTC;
if(HAL_RTCEx_BKUPRead(&hrtc, RTC_BKP_DR0) != 0x32F2){
  hrtc.Init.HourFormat = RTC_HOURFORMAT_24;
  hrtc.Init.AsynchPrediv = 127;
  hrtc.Init.SynchPrediv = 255;
  hrtc.Init.OutPut = RTC_OUTPUT_DISABLE;
  hrtc.Init.OutPutPolarity = RTC_OUTPUT_POLARITY_HIGH;
  hrtc.Init.OutPutType = RTC_OUTPUT_TYPE_OPENDRAIN;
  if (HAL_RTC_Init(&hrtc) != HAL_OK)
  {
    _Error_Handler(__FILE__, __LINE__);
  }

    /**Initialize RTC and set the Time and Date
    */
  sTime.Hours = 0;
  sTime.Minutes = 0;
  sTime.Seconds = 0;
  sTime.DayLightSaving = RTC_DAYLIGHTSAVING_NONE;
  sTime.StoreOperation = RTC_STOREOPERATION_RESET;
  if (HAL_RTC_SetTime(&hrtc, &sTime, RTC_FORMAT_BIN) != HAL_OK)
  {
    _Error_Handler(__FILE__, __LINE__);
  }

  sDate.WeekDay = RTC_WEEKDAY_MONDAY;
  sDate.Month = RTC_MONTH_JANUARY;
  sDate.Date = 1;
  sDate.Year = 0;

  if (HAL_RTC_SetDate(&hrtc, &sDate, RTC_FORMAT_BIN) != HAL_OK)
  {
    _Error_Handler(__FILE__, __LINE__);
  }

    /**Enable the Alarm A
    */
  sAlarm.AlarmTime.Hours = 0;
  sAlarm.AlarmTime.Minutes = 0;
  sAlarm.AlarmTime.Seconds = 0;
  sAlarm.AlarmTime.SubSeconds = 0;
  sAlarm.AlarmTime.DayLightSaving = RTC_DAYLIGHTSAVING_NONE;
  sAlarm.AlarmTime.StoreOperation = RTC_STOREOPERATION_RESET;
  sAlarm.AlarmMask = RTC_ALARMMASK_NONE;
  sAlarm.AlarmSubSecondMask = RTC_ALARMSUBSECONDMASK_NONE;
  sAlarm.AlarmDateWeekDaySel = RTC_ALARMDATEWEEKDAYSEL_DATE;
  sAlarm.AlarmDateWeekDay = 1;
  sAlarm.Alarm = RTC_ALARM_A;
  if (HAL_RTC_SetAlarm_IT(&hrtc, &sAlarm, RTC_FORMAT_BIN) != HAL_OK)
  {
    _Error_Handler(__FILE__, __LINE__);
  }

    HAL_RTCEx_BKUPWrite(&hrtc,RTC_BKP_DR0,0x32F2);
  }

}

/* SPI2 init function */
static void MX_SPI2_Init(void)
{

  /* SPI2 parameter configuration*/
  hspi2.Instance = SPI2;
  hspi2.Init.Mode = SPI_MODE_MASTER;
  hspi2.Init.Direction = SPI_DIRECTION_2LINES;
  hspi2.Init.DataSize = SPI_DATASIZE_8BIT;
  hspi2.Init.CLKPolarity = SPI_POLARITY_LOW;
  hspi2.Init.CLKPhase = SPI_PHASE_1EDGE;
  hspi2.Init.NSS = SPI_NSS_SOFT;
  hspi2.Init.BaudRatePrescaler = SPI_BAUDRATEPRESCALER_2;
  hspi2.Init.FirstBit = SPI_FIRSTBIT_MSB;
  hspi2.Init.TIMode = SPI_TIMODE_DISABLE;
  hspi2.Init.CRCCalculation = SPI_CRCCALCULATION_DISABLE;
  hspi2.Init.CRCPolynomial = 10;
  if (HAL_SPI_Init(&hspi2) != HAL_OK)
  {
    _Error_Handler(__FILE__, __LINE__);
  }

}

/* TIM1 init function */
static void MX_TIM1_Init(void)
{

  TIM_MasterConfigTypeDef sMasterConfig;
  TIM_OC_InitTypeDef sConfigOC;
  TIM_BreakDeadTimeConfigTypeDef sBreakDeadTimeConfig;

  htim1.Instance = TIM1;
  htim1.Init.Prescaler = 6;
  htim1.Init.CounterMode = TIM_COUNTERMODE_UP;
  htim1.Init.Period = PWM_PERIOD;
  htim1.Init.ClockDivision = TIM_CLOCKDIVISION_DIV1;
  htim1.Init.RepetitionCounter = 0;
  if (HAL_TIM_PWM_Init(&htim1) != HAL_OK)
  {
    _Error_Handler(__FILE__, __LINE__);
  }

  sMasterConfig.MasterOutputTrigger = TIM_TRGO_UPDATE;
  sMasterConfig.MasterSlaveMode = TIM_MASTERSLAVEMODE_ENABLE;
  if (HAL_TIMEx_MasterConfigSynchronization(&htim1, &sMasterConfig) != HAL_OK)
  {
    _Error_Handler(__FILE__, __LINE__);
  }

  sConfigOC.OCMode = TIM_OCMODE_PWM1;
  sConfigOC.Pulse = PWM_PULSE;
  sConfigOC.OCPolarity = TIM_OCPOLARITY_HIGH;
  sConfigOC.OCNPolarity = TIM_OCNPOLARITY_HIGH;
  sConfigOC.OCFastMode = TIM_OCFAST_DISABLE;
  sConfigOC.OCIdleState = TIM_OCIDLESTATE_RESET;
  sConfigOC.OCNIdleState = TIM_OCNIDLESTATE_RESET;
  if (HAL_TIM_PWM_ConfigChannel(&htim1, &sConfigOC, TIM_CHANNEL_1) != HAL_OK)
  {
    _Error_Handler(__FILE__, __LINE__);
  }

  if (HAL_TIM_PWM_ConfigChannel(&htim1, &sConfigOC, TIM_CHANNEL_2) != HAL_OK)
  {
    _Error_Handler(__FILE__, __LINE__);
  }

  if (HAL_TIM_PWM_ConfigChannel(&htim1, &sConfigOC, TIM_CHANNEL_3) != HAL_OK)
  {
    _Error_Handler(__FILE__, __LINE__);
  }

  sConfigOC.Pulse = 500;
  if (HAL_TIM_PWM_ConfigChannel(&htim1, &sConfigOC, TIM_CHANNEL_4) != HAL_OK)
  {
    _Error_Handler(__FILE__, __LINE__);
  }

  sBreakDeadTimeConfig.OffStateRunMode = TIM_OSSR_DISABLE;
  sBreakDeadTimeConfig.OffStateIDLEMode = TIM_OSSI_DISABLE;
  sBreakDeadTimeConfig.LockLevel = TIM_LOCKLEVEL_OFF;
  sBreakDeadTimeConfig.DeadTime = 20;
  sBreakDeadTimeConfig.BreakState = TIM_BREAK_DISABLE;
  sBreakDeadTimeConfig.BreakPolarity = TIM_BREAKPOLARITY_HIGH;
  sBreakDeadTimeConfig.AutomaticOutput = TIM_AUTOMATICOUTPUT_DISABLE;
  if (HAL_TIMEx_ConfigBreakDeadTime(&htim1, &sBreakDeadTimeConfig) != HAL_OK)
  {
    _Error_Handler(__FILE__, __LINE__);
  }

  HAL_TIM_MspPostInit(&htim1);

}

/* TIM9 init function */
static void MX_TIM9_Init(void)
{

  TIM_OC_InitTypeDef sConfigOC;

  htim9.Instance = TIM9;
  htim9.Init.Prescaler = 6;
  htim9.Init.CounterMode = TIM_COUNTERMODE_UP;
  htim9.Init.Period = 30;
  htim9.Init.ClockDivision = TIM_CLOCKDIVISION_DIV1;
  if (HAL_TIM_OC_Init(&htim9) != HAL_OK)
  {
    _Error_Handler(__FILE__, __LINE__);
  }

  sConfigOC.OCMode = TIM_OCMODE_TIMING;
  sConfigOC.Pulse = 15;
  sConfigOC.OCPolarity = TIM_OCPOLARITY_HIGH;
  sConfigOC.OCFastMode = TIM_OCFAST_DISABLE;
  if (HAL_TIM_OC_ConfigChannel(&htim9, &sConfigOC, TIM_CHANNEL_1) != HAL_OK)
  {
    _Error_Handler(__FILE__, __LINE__);
  }

}

/* TIM10 init function */
static void MX_TIM10_Init(void)
{

  TIM_OC_InitTypeDef sConfigOC;

  htim10.Instance = TIM10;
  htim10.Init.Prescaler = 168;
  htim10.Init.CounterMode = TIM_COUNTERMODE_UP;
  htim10.Init.Period = 65535;
  htim10.Init.ClockDivision = TIM_CLOCKDIVISION_DIV1;
  if (HAL_TIM_Base_Init(&htim10) != HAL_OK)
  {
    _Error_Handler(__FILE__, __LINE__);
  }

  if (HAL_TIM_OC_Init(&htim10) != HAL_OK)
  {
    _Error_Handler(__FILE__, __LINE__);
  }

  sConfigOC.OCMode = TIM_OCMODE_TIMING;
  sConfigOC.Pulse = 65535;
  sConfigOC.OCPolarity = TIM_OCPOLARITY_HIGH;
  sConfigOC.OCFastMode = TIM_OCFAST_DISABLE;
  if (HAL_TIM_OC_ConfigChannel(&htim10, &sConfigOC, TIM_CHANNEL_1) != HAL_OK)
  {
    _Error_Handler(__FILE__, __LINE__);
  }

}

/* USART3 init function */
static void MX_USART3_UART_Init(void)
{

  huart3.Instance = USART3;
  huart3.Init.BaudRate = 115200;
  huart3.Init.WordLength = UART_WORDLENGTH_8B;
  huart3.Init.StopBits = UART_STOPBITS_1;
  huart3.Init.Parity = UART_PARITY_NONE;
  huart3.Init.Mode = UART_MODE_TX_RX;
  huart3.Init.HwFlowCtl = UART_HWCONTROL_NONE;
  huart3.Init.OverSampling = UART_OVERSAMPLING_16;
  if (HAL_UART_Init(&huart3) != HAL_OK)
  {
    _Error_Handler(__FILE__, __LINE__);
  }

}

static void MX_DMA_Init(void)
{
  /* DMA controller clock enable */
  __HAL_RCC_DMA1_CLK_ENABLE();

  /* DMA interrupt init */
  /* DMA1_Stream3_IRQn interrupt configuration */
  HAL_NVIC_SetPriority(DMA1_Stream3_IRQn, 9, 0);
  HAL_NVIC_EnableIRQ(DMA1_Stream3_IRQn);
  /* DMA1_Stream4_IRQn interrupt configuration */
  HAL_NVIC_SetPriority(DMA1_Stream4_IRQn, 9, 0);
  HAL_NVIC_EnableIRQ(DMA1_Stream4_IRQn);

}

/** Configure pins as
        * Analog
        * Input
        * Output
        * EVENT_OUT
        * EXTI
     PA11   ------> USB_OTG_FS_DM
     PA12   ------> USB_OTG_FS_DP
*/
static void MX_GPIO_Init(void)
{

  GPIO_InitTypeDef GPIO_InitStruct;

  /* GPIO Ports Clock Enable */
  __HAL_RCC_GPIOC_CLK_ENABLE();
  __HAL_RCC_GPIOH_CLK_ENABLE();
  __HAL_RCC_GPIOA_CLK_ENABLE();
  __HAL_RCC_GPIOB_CLK_ENABLE();
  __HAL_RCC_GPIOE_CLK_ENABLE();
  __HAL_RCC_GPIOD_CLK_ENABLE();

  /*Configure GPIO pin Output Level */
  HAL_GPIO_WritePin(OTG_FS_PowerSwitchOn_GPIO_Port, OTG_FS_PowerSwitchOn_Pin, GPIO_PIN_SET);

  /*Configure GPIO pin Output Level */
  HAL_GPIO_WritePin(GPIOD, LD4_Pin|LD3_Pin|LD5_Pin|LD6_Pin, GPIO_PIN_RESET);

  /*Configure GPIO pin : OTG_FS_PowerSwitchOn_Pin */
  GPIO_InitStruct.Pin = OTG_FS_PowerSwitchOn_Pin;
  GPIO_InitStruct.Mode = GPIO_MODE_OUTPUT_PP;
  GPIO_InitStruct.Pull = GPIO_NOPULL;
  GPIO_InitStruct.Speed = GPIO_SPEED_FREQ_LOW;
  HAL_GPIO_Init(OTG_FS_PowerSwitchOn_GPIO_Port, &GPIO_InitStruct);

  /*Configure GPIO pin : PA0 */
  GPIO_InitStruct.Pin = GPIO_PIN_0;
  GPIO_InitStruct.Mode = GPIO_MODE_IT_RISING;
  GPIO_InitStruct.Pull = GPIO_NOPULL;
  HAL_GPIO_Init(GPIOA, &GPIO_InitStruct);

  /*Configure GPIO pin : BOOT1_Pin */
  GPIO_InitStruct.Pin = BOOT1_Pin;
  GPIO_InitStruct.Mode = GPIO_MODE_INPUT;
  GPIO_InitStruct.Pull = GPIO_NOPULL;
  HAL_GPIO_Init(BOOT1_GPIO_Port, &GPIO_InitStruct);

  /*Configure GPIO pin : GPIO_PWM_TRIGGER_Pin */
  GPIO_InitStruct.Pin = GPIO_PWM_TRIGGER_Pin;
  GPIO_InitStruct.Mode = GPIO_MODE_IT_RISING_FALLING;
  GPIO_InitStruct.Pull = GPIO_NOPULL;
  HAL_GPIO_Init(GPIO_PWM_TRIGGER_GPIO_Port, &GPIO_InitStruct);

  /*Configure GPIO pins : LD4_Pin LD3_Pin LD5_Pin LD6_Pin */
  GPIO_InitStruct.Pin = LD4_Pin|LD3_Pin|LD5_Pin|LD6_Pin;
  GPIO_InitStruct.Mode = GPIO_MODE_OUTPUT_PP;
  GPIO_InitStruct.Pull = GPIO_NOPULL;
  GPIO_InitStruct.Speed = GPIO_SPEED_FREQ_LOW;
  HAL_GPIO_Init(GPIOD, &GPIO_InitStruct);

  /*Configure GPIO pins : OTG_FS_DM_Pin OTG_FS_DP_Pin */
  GPIO_InitStruct.Pin = OTG_FS_DM_Pin|OTG_FS_DP_Pin;
  GPIO_InitStruct.Mode = GPIO_MODE_AF_PP;
  GPIO_InitStruct.Pull = GPIO_NOPULL;
  GPIO_InitStruct.Speed = GPIO_SPEED_FREQ_LOW;
  GPIO_InitStruct.Alternate = GPIO_AF10_OTG_FS;
  HAL_GPIO_Init(GPIOA, &GPIO_InitStruct);

  /*Configure GPIO pin : PD1 */
  GPIO_InitStruct.Pin = GPIO_PIN_1;
  GPIO_InitStruct.Mode = GPIO_MODE_IT_RISING_FALLING;
  GPIO_InitStruct.Pull = GPIO_NOPULL;
  HAL_GPIO_Init(GPIOD, &GPIO_InitStruct);

  /*Configure GPIO pin : OTG_FS_OverCurrent_Pin */
  GPIO_InitStruct.Pin = OTG_FS_OverCurrent_Pin;
  GPIO_InitStruct.Mode = GPIO_MODE_INPUT;
  GPIO_InitStruct.Pull = GPIO_NOPULL;
  HAL_GPIO_Init(OTG_FS_OverCurrent_GPIO_Port, &GPIO_InitStruct);

  /* EXTI interrupt init*/
  HAL_NVIC_SetPriority(EXTI0_IRQn, 8, 0);
  HAL_NVIC_EnableIRQ(EXTI0_IRQn);

  HAL_NVIC_SetPriority(EXTI1_IRQn, 8, 0);
  HAL_NVIC_EnableIRQ(EXTI1_IRQn);

  HAL_NVIC_SetPriority(EXTI15_10_IRQn, 8, 0);
  HAL_NVIC_EnableIRQ(EXTI15_10_IRQn);

}

/* USER CODE BEGIN 4 */
void StartDefaultTask(void const * argument) {
#ifdef NOT_DEFINED_FOR_SURE_____________I_HOPE
/* USER CODE END 4 */

/* StartDefaultTask function */
void StartDefaultTask(void const * argument)
{
  /* init code for FATFS */
  MX_FATFS_Init();

  /* USER CODE BEGIN 5 */
#endif
	UNUSED(argument);
	if (HAL_DAC_Start(&hdac, DAC_CHANNEL_2) != HAL_OK) {
		_Error_Handler(__FILE__, __LINE__);
	}
	//HAL_DAC_SetValue(&hdac, DAC_CHANNEL_2, DAC_ALIGN_12B_R, 3000);
	/* Infinite loop */
	for (;;) {
		osDelay(5);
		//HAL_IWDG_Refresh(&hiwdg);
	}
  /* USER CODE END 5 */
}

void HAL_TIM_PeriodElapsedCallback(TIM_HandleTypeDef *htim)
{
  if (htim->Instance == TIM14) {
    HAL_IncTick();
  }
}

void _Error_Handler(char *file, int line)
{
  /* USER CODE BEGIN Error_Handler_Debug */
	TurnAllPWMsOFF();

	HAL_GPIO_WritePin(GPIOD, GPIO_PIN_12, GPIO_PIN_SET);
	HAL_GPIO_WritePin(GPIOD, GPIO_PIN_13, GPIO_PIN_SET);
	HAL_GPIO_WritePin(GPIOD, GPIO_PIN_14, GPIO_PIN_SET);
	HAL_GPIO_WritePin(GPIOD, GPIO_PIN_15, GPIO_PIN_SET);
	/* User can add his own implementation to report the HAL error return state */
	while (1) {
	}
  /* USER CODE END Error_Handler_Debug */
}

/************************ (C) COPYRIGHT STMicroelectronics *****END OF FILE****/
